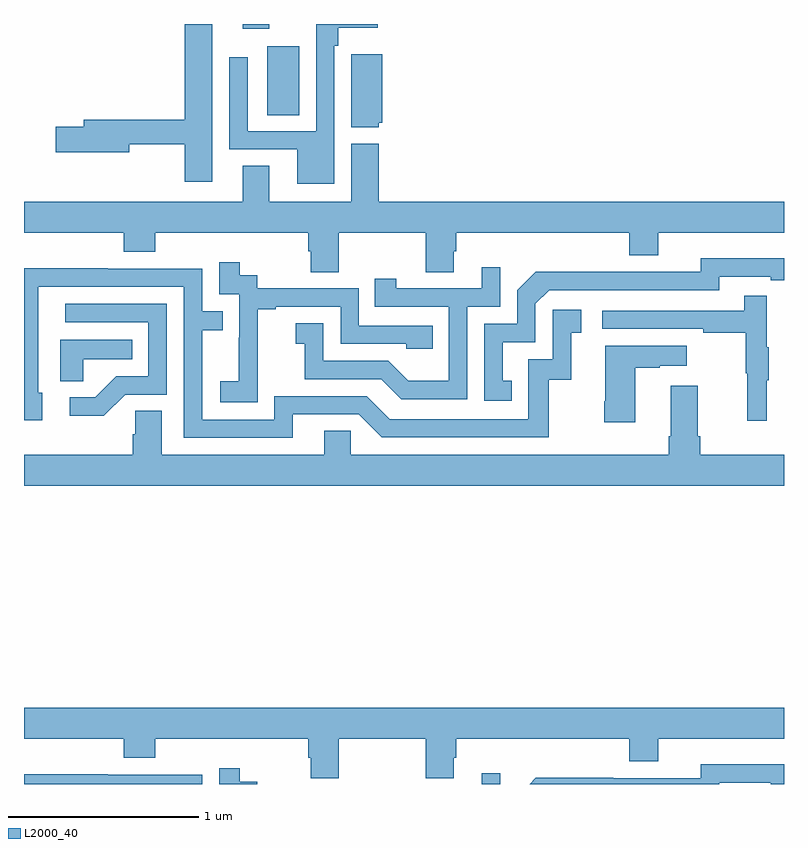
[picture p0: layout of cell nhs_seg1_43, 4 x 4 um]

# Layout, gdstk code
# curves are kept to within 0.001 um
import gdstk
lib = gdstk.Library(unit=1e-6, precision=1e-09)
def R(c, l, rs):  # rectangles x0, y0, x1, y1
    for r in rs: c.add(gdstk.rectangle(r[:2], r[2:], *l))
def P(c, l, *ps):  # polygons
    for p in ps: c.add(gdstk.Polygon(p, *l))
L2000_40 = (2000, 40)

nhs_seg1_43 = lib.new_cell('nhs_seg1_43')
R(nhs_seg1_43, L2000_40, [(115.409,514.199,115.506,514.255), (114.281,517.72,114.448,518.083), (114.152,518.175,114.292,518.199)])
P(nhs_seg1_43, L2000_40, [(114.633,518.084),(114.653,518.084),(114.653,518.18),(114.862,518.18),(114.862,518.199),(114.537,518.199),(114.537,517.635),(114.177,517.635),(114.177,518.023),(114.081,518.023),(114.081,517.539),(114.437,517.539),(114.437,517.358),(114.633,517.358)],
  [(113.992,518.199),(113.846,518.199),(113.846,517.694),(113.315,517.694),(113.315,517.658),(113.166,517.658),(113.166,517.523),(113.554,517.523),(113.554,517.566),(113.846,517.566),(113.846,517.368),(113.992,517.368)],
  [(114.867,517.68),(114.886,517.68),(114.886,518.041),(114.722,518.041),(114.722,517.655),(114.867,517.655)],
  [(114.657,517.1),(115.114,517.1),(115.114,516.892),(115.261,516.892),(115.261,517.002),(115.274,517.002),(115.274,517.1),(116.186,517.1),(116.186,516.983),(116.338,516.983),(116.338,517.1),(117,517.1),(117,517.264),(114.866,517.264),(114.866,517.57),(114.722,517.57),(114.722,517.264),(114.292,517.264),(114.292,517.454),(114.152,517.454),(114.152,517.264),(113,517.264),(113,517.1),(113.525,517.1),(113.525,517.001),(113.69,517.001),(113.69,517.1),(114.497,517.1),(114.497,517.002),(114.509,517.002),(114.509,516.892),(114.657,516.892)],
  [(115.568,516.321),(115.519,516.321),(115.519,516.525),(115.692,516.525),(115.692,516.726),(115.764,516.798),(116.658,516.798),(116.658,516.87),(116.93,516.87),(116.93,516.85),(117,516.85),(117,516.966),(116.562,516.967),(116.562,516.894),(115.694,516.895),(115.596,516.798),(115.596,516.621),(115.422,516.621),(115.422,516.216),(115.568,516.216)],
  [(114.231,516.415),(114.23,516.415),(114.23,516.699),(114.325,516.699),(114.325,516.711),(114.666,516.711),(114.666,516.516),(115.011,516.516),(115.011,516.489),(115.151,516.489),(115.151,516.612),(114.762,516.612),(114.762,516.807),(114.228,516.807),(114.228,516.876),(114.136,516.876),(114.136,516.946),(114.027,516.946),(114.027,516.777),(114.132,516.777),(114.132,516.548),(114.131,516.548),(114.131,516.319),(114.033,516.319),(114.033,516.209),(114.231,516.209)],
  [(115.332,516.711),(115.506,516.711),(115.506,516.919),(115.409,516.919),(115.409,516.807),(114.958,516.807),(114.958,516.859),(114.847,516.859),(114.847,516.711),(115.236,516.711),(115.236,516.322),(115.022,516.322),(114.918,516.426),(114.576,516.426),(114.576,516.625),(114.429,516.625),(114.429,516.515),(114.478,516.515),(114.478,516.33),(114.881,516.33),(114.986,516.225),(115.332,516.225)],
  [(114.415,516.144),(114.762,516.144),(114.882,516.024),(115.762,516.024),(115.762,516.327),(115.88,516.327),(115.88,516.573),(115.933,516.573),(115.933,516.694),(115.782,516.694),(115.782,516.435),(115.653,516.435),(115.653,516.12),(114.924,516.12),(114.804,516.24),(114.318,516.24),(114.318,516.117),(113.937,516.117),(113.937,516.586),(114.047,516.586),(114.047,516.687),(113.937,516.687),(113.937,516.912),(113.441,516.912),(113.441,516.914),(113,516.914),(113,516.114),(113.095,516.114),(113.095,516.258),(113.076,516.258),(113.076,516.816),(113.841,516.816),(113.841,516.021),(114.415,516.021)],
  [(116.909,516.323),(116.92,516.323),(116.92,516.497),(116.909,516.497),(116.909,516.769),(116.791,516.769),(116.791,516.69),(116.043,516.69),(116.043,516.594),(116.575,516.594),(116.575,516.574),(116.799,516.574),(116.799,516.36),(116.806,516.36),(116.806,516.111),(116.909,516.111)],
  [(113.532,516.249),(113.751,516.249),(113.751,516.726),(113.217,516.726),(113.217,516.63),(113.655,516.63),(113.655,516.345),(113.486,516.345),(113.375,516.234),(113.241,516.234),(113.241,516.137),(113.419,516.137)],
  [(113.313,516.434),(113.57,516.434),(113.57,516.538),(113.192,516.538),(113.192,516.319),(113.313,516.319)],
  [(116.218,516.391),(116.345,516.391),(116.345,516.401),(116.488,516.401),(116.488,516.505),(116.06,516.505),(116.06,516.214),(116.053,516.214),(116.053,516.102),(116.218,516.102)],
  [(117,515.932),(116.558,515.932),(116.558,516.028),(116.545,516.028),(116.545,516.295),(116.405,516.295),(116.405,516.028),(116.393,516.028),(116.393,515.932),(114.72,515.932),(114.72,516.059),(114.581,516.059),(114.581,515.932),(113.725,515.932),(113.725,516.164),(113.586,516.164),(113.586,516.041),(113.573,516.041),(113.573,515.932),(113,515.932),(113,515.768),(117,515.768)],
  [(114.657,514.436),(115.114,514.436),(115.114,514.228),(115.261,514.228),(115.261,514.338),(115.274,514.338),(115.274,514.436),(116.186,514.436),(116.186,514.319),(116.338,514.319),(116.338,514.436),(117,514.436),(117,514.6),(113,514.6),(113,514.436),(113.525,514.436),(113.525,514.337),(113.69,514.337),(113.69,514.436),(114.497,514.436),(114.497,514.338),(114.509,514.338),(114.509,514.228),(114.657,514.228)],
  [(116.658,514.206),(116.93,514.206),(116.93,514.199),(117,514.199),(117,514.302),(116.562,514.303),(116.562,514.23),(116.102,514.23),(116.102,514.232),(115.694,514.232),(115.661,514.199),(116.658,514.199)],
  [(114.228,514.212),(114.136,514.212),(114.136,514.282),(114.027,514.282),(114.027,514.199),(114.228,514.199)],
  [(113.937,514.248),(113.441,514.248),(113.441,514.25),(113,514.25),(113,514.199),(113.937,514.199)])

lib.write_gds('nhs_seg1_43.gds')
